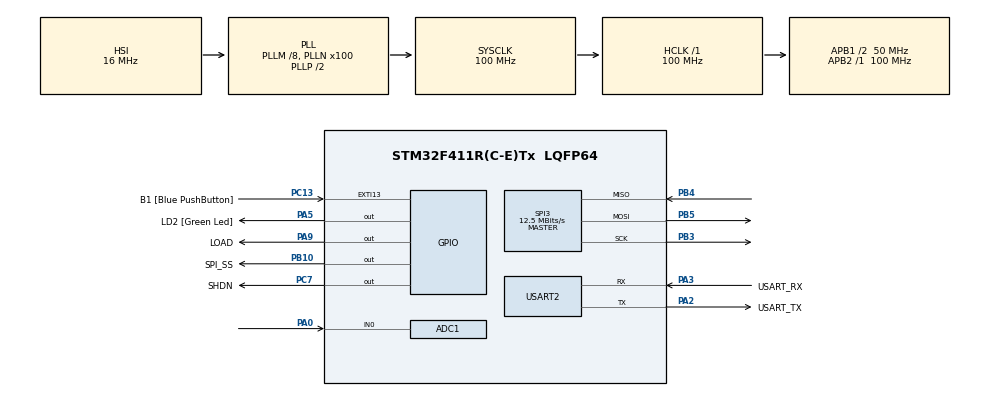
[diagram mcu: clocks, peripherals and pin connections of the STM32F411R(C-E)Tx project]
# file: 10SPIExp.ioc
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ADC1.Channel-0\#ChannelRegularConversion=ADC_CHANNEL_0
ADC1.ContinuousConvMode=DISABLE
ADC1.DMAContinuousRequests=ENABLE
ADC1.ExternalTrigConv=ADC_EXTERNALTRIGCONV_T3_TRGO
ADC1.NbrOfConversion=1
ADC1.NbrOfConversionFlag=1
ADC1.Rank-0\#ChannelRegularConversion=1
ADC1.SamplingTime-0\#ChannelRegularConversion=ADC_SAMPLETIME_15CYCLES
ADC1.ScanConvMode=ENABLE
ADC1.master=1
Dma.ADC1.0.Direction=DMA_PERIPH_TO_MEMORY
Dma.ADC1.0.FIFOMode=DMA_FIFOMODE_DISABLE
Dma.ADC1.0.Instance=DMA2_Stream4
Dma.ADC1.0.MemDataAlignment=DMA_MDATAALIGN_WORD
Dma.ADC1.0.MemInc=DMA_MINC_ENABLE
Dma.ADC1.0.Mode=DMA_CIRCULAR
Dma.ADC1.0.PeriphDataAlignment=DMA_PDATAALIGN_WORD
Dma.ADC1.0.PeriphInc=DMA_PINC_DISABLE
Dma.ADC1.0.Priority=DMA_PRIORITY_LOW
Dma.Request0=ADC1
Mcu.Family=STM32F4
Mcu.Name=STM32F411R(C-E)Tx
Mcu.Package=LQFP64
NVIC.ADC_IRQn=true\:0\:0\:false\:false\:true\:true\:true\:true
NVIC.DMA2_Stream4_IRQn=true\:0\:0\:false\:false\:true\:false\:true\:true
NVIC.EXTI15_10_IRQn=true\:0\:0\:false\:false\:true\:true\:true\:true
NVIC.PriorityGroup=NVIC_PRIORITYGROUP_0
NVIC.SPI3_IRQn=true\:0\:0\:false\:false\:true\:true\:true\:true
NVIC.TIM1_TRG_COM_TIM11_IRQn=true\:0\:0\:false\:false\:true\:true\:true\:true
NVIC.TIM3_IRQn=true\:0\:0\:false\:false\:true\:true\:true\:true
PA0-WKUP.Signal=ADCx_IN0
PA13.GPIO_Label=TMS
PA13.Mode=Serial_Wire
PA13.Signal=SYS_JTMS-SWDIO
PA14.GPIO_Label=TCK
PA14.Mode=Serial_Wire
PA14.Signal=SYS_JTCK-SWCLK
PA2.GPIO_Label=USART_TX
PA2.Mode=Asynchronous
PA2.Signal=USART2_TX
PA3.GPIO_Label=USART_RX
PA3.Mode=Asynchronous
PA3.Signal=USART2_RX
PA5.GPIO_Label=LD2 [Green Led]
PA5.Signal=GPIO_Output
PA9.GPIO_Label=LOAD
PA9.PinState=GPIO_PIN_SET
PA9.Signal=GPIO_Output
PB10.GPIO_Label=SPI_SS
PB10.PinState=GPIO_PIN_SET
PB10.Signal=GPIO_Output
PB3.Mode=Full_Duplex_Master
PB3.Signal=SPI3_SCK
PB4.Mode=Full_Duplex_Master
PB4.Signal=SPI3_MISO
PB5.Mode=Full_Duplex_Master
PB5.Signal=SPI3_MOSI
PC13-ANTI_TAMP.GPIO_Label=B1 [Blue PushButton]
PC13-ANTI_TAMP.GPIO_ModeDefaultEXTI=GPIO_MODE_IT_FALLING
PC13-ANTI_TAMP.Signal=GPXTI13
PC14-OSC32_IN.Mode=LSE-External-Oscillator
PC14-OSC32_IN.Signal=RCC_OSC32_IN
PC15-OSC32_OUT.Mode=LSE-External-Oscillator
PC15-OSC32_OUT.Signal=RCC_OSC32_OUT
PC7.GPIO_Label=SHDN
PC7.PinState=GPIO_PIN_SET
PC7.Signal=GPIO_Output
PH0\ -\ OSC_IN.Mode=HSE-External-Clock-Source
PH0\ -\ OSC_IN.Signal=RCC_OSC_IN
PH1\ -\ OSC_OUT.Mode=HSE-External-Clock-Source
PH1\ -\ OSC_OUT.Signal=RCC_OSC_OUT
ProjectManager.HeapSize=0x200
ProjectManager.StackSize=0x400
ProjectManager.TargetToolchain=STM32CubeIDE
RCC.48MHZClocksFreq_Value=50000000
RCC.AHBFreq_Value=100000000
RCC.APB1CLKDivider=RCC_HCLK_DIV2
RCC.APB1Freq_Value=50000000
RCC.APB1TimFreq_Value=100000000
RCC.APB2Freq_Value=100000000
RCC.APB2TimFreq_Value=100000000
RCC.CortexFreq_Value=100000000
RCC.FLatency-AdvancedSettings=FLASH_LATENCY_3
RCC.HCLKFreq_Value=100000000
RCC.HSE_VALUE=8000000
RCC.HSI_VALUE=16000000
RCC.PLLM=8
RCC.PLLN=100
RCC.SYSCLKFreq_VALUE=100000000
RCC.SYSCLKSource=RCC_SYSCLKSOURCE_PLLCLK
RCC.VCOOutputFreq_Value=200000000
SH.ADCx_IN0.0=ADC1_IN0,IN0
SPI3.BaudRatePrescaler=SPI_BAUDRATEPRESCALER_4
SPI3.CalculateBaudRate=12.5 MBits/s
SPI3.DataSize=SPI_DATASIZE_16BIT
SPI3.Direction=SPI_DIRECTION_2LINES
SPI3.Mode=SPI_MODE_MASTER
SPI3.VirtualType=VM_MASTER
TIM11.Prescaler=99
TIM2.Prescaler=99
TIM3.Period=100
TIM3.Prescaler=100
TIM3.TIM_MasterOutputTrigger=TIM_TRGO_UPDATE
USART2.VirtualMode=VM_ASYNC
VP_TIM11_VS_ClockSourceINT.Mode=Enable_Timer
VP_TIM2_VS_ClockSourceINT.Mode=Internal
VP_TIM3_VS_ClockSourceINT.Mode=Internal
board=NUCLEO-F411RE

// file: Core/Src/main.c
/* USER CODE BEGIN Header */
/**
 ******************************************************************************
 * @file           : main.c
 * @brief          : Main program body
 ******************************************************************************
 * @attention
 *
 * Copyright (c) 2022 STMicroelectronics.
 * All rights reserved.
 *
 * This software is licensed under terms that can be found in the LICENSE file
 * in the root directory of this software component.
 * If no LICENSE file comes with this software, it is provided AS-IS.
 *
 ******************************************************************************
 */
/* USER CODE END Header */
#include "main.h"

ADC_HandleTypeDef hadc1;
DMA_HandleTypeDef hdma_adc1;

SPI_HandleTypeDef hspi3;

TIM_HandleTypeDef htim2;
TIM_HandleTypeDef htim3;
TIM_HandleTypeDef htim11;

UART_HandleTypeDef huart2;

/* USER CODE BEGIN PV */
uint16_t ADCin = 0;
uint64_t _micro = 0;
uint16_t dataOut = 0;
uint8_t DACConfig = 0b0011;

uint64_t time = 0;
uint16_t mode = 1;
uint64_t test = 0;

int16_t Hz = 1;
/* USER CODE END PV */

void SystemClock_Config(void);
static void MX_DMA_Init(void);
static void MX_GPIO_Init(void);
static void MX_USART2_UART_Init(void);
static void MX_ADC1_Init(void);
static void MX_SPI3_Init(void);
static void MX_TIM3_Init(void);
static void MX_TIM11_Init(void);
static void MX_TIM2_Init(void);
/* USER CODE BEGIN PFP */
void MCP4922SetOutput(uint8_t Config, uint16_t DACOutput);
uint64_t micros();
uint16_t pwm(int16_t Hz);
uint16_t sawthooth(int16_t Hz);
uint16_t sinwave(int16_t Hz);
uint16_t V_wave(int16_t Hz);
/* USER CODE END PFP */

int main(void) {

	/* MCU Configuration--------------------------------------------------------*/

	/* Reset of all peripherals, Initializes the Flash interface and the Systick. */
	HAL_Init();

	/* Configure the system clock */
	SystemClock_Config();

	/* Initialize all configured peripherals */
	MX_DMA_Init();
	MX_GPIO_Init();
	MX_USART2_UART_Init();
	MX_ADC1_Init();
	MX_SPI3_Init();
	MX_TIM3_Init();
	MX_TIM11_Init();
	MX_TIM2_Init();
	/* USER CODE BEGIN 2 */
	HAL_TIM_Base_Start(&htim3);
	HAL_TIM_Base_Start_IT(&htim2);
	HAL_ADC_Start_DMA(&hadc1, (uint32_t*) &ADCin, 1);

	HAL_GPIO_WritePin(LOAD_GPIO_Port, LOAD_Pin, GPIO_PIN_RESET);
	/* USER CODE END 2 */

	/* Infinite loop */
	/* USER CODE BEGIN WHILE */
	while (1) {
		static uint64_t timestamp = 0;
		if (mode == 0) {
			dataOut = sawthooth(Hz);
		} else if (mode == 1) {
			dataOut = pwm(Hz);
		}
//		else if (mode == 2) {
//					dataOut = pwm();
//				} else if (mode == 3) {
//					dataOut == V_wave();
//				}

		if (micros() - timestamp > 100) {
			timestamp = micros();
			dataOut++;
			dataOut %= 4096;
			if (hspi3.State == HAL_SPI_STATE_READY
					&& HAL_GPIO_ReadPin(SPI_SS_GPIO_Port, SPI_SS_Pin)
							== GPIO_PIN_SET) {
				MCP4922SetOutput(DACConfig, dataOut);
			}
		}
		/* USER CODE END WHILE */

	}
}

void SystemClock_Config(void) {
	RCC_OscInitTypeDef RCC_OscInitStruct = { 0 };
	RCC_ClkInitTypeDef RCC_ClkInitStruct = { 0 };

	/** Configure the main internal regulator output voltage
	 */
	__HAL_RCC_PWR_CLK_ENABLE();
	__HAL_PWR_VOLTAGESCALING_CONFIG(PWR_REGULATOR_VOLTAGE_SCALE1);

	/** Initializes the RCC Oscillators according to the specified parameters
	 * in the RCC_OscInitTypeDef structure.
	 */
	RCC_OscInitStruct.OscillatorType = RCC_OSCILLATORTYPE_HSI;
	RCC_OscInitStruct.HSIState = RCC_HSI_ON;
	RCC_OscInitStruct.HSICalibrationValue = RCC_HSICALIBRATION_DEFAULT;
	RCC_OscInitStruct.PLL.PLLState = RCC_PLL_ON;
	RCC_OscInitStruct.PLL.PLLSource = RCC_PLLSOURCE_HSI;
	RCC_OscInitStruct.PLL.PLLM = 8;
	RCC_OscInitStruct.PLL.PLLN = 100;
	RCC_OscInitStruct.PLL.PLLP = RCC_PLLP_DIV2;
	RCC_OscInitStruct.PLL.PLLQ = 4;
	if (HAL_RCC_OscConfig(&RCC_OscInitStruct) != HAL_OK) {
		Error_Handler();
	}

	/** Initializes the CPU, AHB and APB buses clocks
	 */
	RCC_ClkInitStruct.ClockType = RCC_CLOCKTYPE_HCLK | RCC_CLOCKTYPE_SYSCLK
			| RCC_CLOCKTYPE_PCLK1 | RCC_CLOCKTYPE_PCLK2;
	RCC_ClkInitStruct.SYSCLKSource = RCC_SYSCLKSOURCE_PLLCLK;
	RCC_ClkInitStruct.AHBCLKDivider = RCC_SYSCLK_DIV1;
	RCC_ClkInitStruct.APB1CLKDivider = RCC_HCLK_DIV2;
	RCC_ClkInitStruct.APB2CLKDivider = RCC_HCLK_DIV1;

	if (HAL_RCC_ClockConfig(&RCC_ClkInitStruct, FLASH_LATENCY_3) != HAL_OK) {
		Error_Handler();
	}
}

static void MX_ADC1_Init(void) {

	ADC_ChannelConfTypeDef sConfig = { 0 };

	/** Configure the global features of the ADC (Clock, Resolution, Data Alignment and number of conversion)
	 */
	hadc1.Instance = ADC1;
	hadc1.Init.ClockPrescaler = ADC_CLOCK_SYNC_PCLK_DIV4;
	hadc1.Init.Resolution = ADC_RESOLUTION_12B;
	hadc1.Init.ScanConvMode = ENABLE;
	hadc1.Init.ContinuousConvMode = DISABLE;
	hadc1.Init.DiscontinuousConvMode = DISABLE;
	hadc1.Init.ExternalTrigConvEdge = ADC_EXTERNALTRIGCONVEDGE_RISING;
	hadc1.Init.ExternalTrigConv = ADC_EXTERNALTRIGCONV_T3_TRGO;
	hadc1.Init.DataAlign = ADC_DATAALIGN_RIGHT;
	hadc1.Init.NbrOfConversion = 1;
	hadc1.Init.DMAContinuousRequests = ENABLE;
	hadc1.Init.EOCSelection = ADC_EOC_SINGLE_CONV;
	if (HAL_ADC_Init(&hadc1) != HAL_OK) {
		Error_Handler();
	}

	/** Configure for the selected ADC regular channel its corresponding rank in the sequencer and its sample time.
	 */
	sConfig.Channel = ADC_CHANNEL_0;
	sConfig.Rank = 1;
	sConfig.SamplingTime = ADC_SAMPLETIME_15CYCLES;
	if (HAL_ADC_ConfigChannel(&hadc1, &sConfig) != HAL_OK) {
		Error_Handler();
	}

}

static void MX_SPI3_Init(void) {

	/* SPI3 parameter configuration*/
	hspi3.Instance = SPI3;
	hspi3.Init.Mode = SPI_MODE_MASTER;
	hspi3.Init.Direction = SPI_DIRECTION_2LINES;
	hspi3.Init.DataSize = SPI_DATASIZE_16BIT;
	hspi3.Init.CLKPolarity = SPI_POLARITY_LOW;
	hspi3.Init.CLKPhase = SPI_PHASE_1EDGE;
	hspi3.Init.NSS = SPI_NSS_SOFT;
	hspi3.Init.BaudRatePrescaler = SPI_BAUDRATEPRESCALER_4;
	hspi3.Init.FirstBit = SPI_FIRSTBIT_MSB;
	hspi3.Init.TIMode = SPI_TIMODE_DISABLE;
	hspi3.Init.CRCCalculation = SPI_CRCCALCULATION_DISABLE;
	hspi3.Init.CRCPolynomial = 10;
	if (HAL_SPI_Init(&hspi3) != HAL_OK) {
		Error_Handler();
	}

}

static void MX_TIM2_Init(void) {

	TIM_ClockConfigTypeDef sClockSourceConfig = { 0 };
	TIM_MasterConfigTypeDef sMasterConfig = { 0 };

	htim2.Instance = TIM2;
	htim2.Init.Prescaler = 99;
	htim2.Init.CounterMode = TIM_COUNTERMODE_UP;
	htim2.Init.Period = 4294967295;
	htim2.Init.ClockDivision = TIM_CLOCKDIVISION_DIV1;
	htim2.Init.AutoReloadPreload = TIM_AUTORELOAD_PRELOAD_DISABLE;
	if (HAL_TIM_Base_Init(&htim2) != HAL_OK) {
		Error_Handler();
	}
	sClockSourceConfig.ClockSource = TIM_CLOCKSOURCE_INTERNAL;
	if (HAL_TIM_ConfigClockSource(&htim2, &sClockSourceConfig) != HAL_OK) {
		Error_Handler();
	}
	sMasterConfig.MasterOutputTrigger = TIM_TRGO_RESET;
	sMasterConfig.MasterSlaveMode = TIM_MASTERSLAVEMODE_DISABLE;
	if (HAL_TIMEx_MasterConfigSynchronization(&htim2, &sMasterConfig)
			!= HAL_OK) {
		Error_Handler();
	}

}

static void MX_TIM3_Init(void) {

	TIM_ClockConfigTypeDef sClockSourceConfig = { 0 };
	TIM_MasterConfigTypeDef sMasterConfig = { 0 };

	htim3.Instance = TIM3;
	htim3.Init.Prescaler = 100;
	htim3.Init.CounterMode = TIM_COUNTERMODE_UP;
	htim3.Init.Period = 100;
	htim3.Init.ClockDivision = TIM_CLOCKDIVISION_DIV1;
	htim3.Init.AutoReloadPreload = TIM_AUTORELOAD_PRELOAD_DISABLE;
	if (HAL_TIM_Base_Init(&htim3) != HAL_OK) {
		Error_Handler();
	}
	sClockSourceConfig.ClockSource = TIM_CLOCKSOURCE_INTERNAL;
	if (HAL_TIM_ConfigClockSource(&htim3, &sClockSourceConfig) != HAL_OK) {
		Error_Handler();
	}
	sMasterConfig.MasterOutputTrigger = TIM_TRGO_UPDATE;
	sMasterConfig.MasterSlaveMode = TIM_MASTERSLAVEMODE_DISABLE;
	if (HAL_TIMEx_MasterConfigSynchronization(&htim3, &sMasterConfig)
			!= HAL_OK) {
		Error_Handler();
	}

}

static void MX_TIM11_Init(void) {

	htim11.Instance = TIM11;
	htim11.Init.Prescaler = 99;
	htim11.Init.CounterMode = TIM_COUNTERMODE_UP;
	htim11.Init.Period = 65535;
	htim11.Init.ClockDivision = TIM_CLOCKDIVISION_DIV1;
	htim11.Init.AutoReloadPreload = TIM_AUTORELOAD_PRELOAD_DISABLE;
	if (HAL_TIM_Base_Init(&htim11) != HAL_OK) {
		Error_Handler();
	}

}

static void MX_USART2_UART_Init(void) {

	huart2.Instance = USART2;
	huart2.Init.BaudRate = 115200;
	huart2.Init.WordLength = UART_WORDLENGTH_8B;
	huart2.Init.StopBits = UART_STOPBITS_1;
	huart2.Init.Parity = UART_PARITY_NONE;
	huart2.Init.Mode = UART_MODE_TX_RX;
	huart2.Init.HwFlowCtl = UART_HWCONTROL_NONE;
	huart2.Init.OverSampling = UART_OVERSAMPLING_16;
	if (HAL_UART_Init(&huart2) != HAL_OK) {
		Error_Handler();
	}

}

static void MX_DMA_Init(void) {

	/* DMA controller clock enable */
	__HAL_RCC_DMA2_CLK_ENABLE();

	/* DMA interrupt init */
	/* DMA2_Stream4_IRQn interrupt configuration */
	HAL_NVIC_SetPriority(DMA2_Stream4_IRQn, 0, 0);
	HAL_NVIC_EnableIRQ(DMA2_Stream4_IRQn);

}

static void MX_GPIO_Init(void) {
	GPIO_InitTypeDef GPIO_InitStruct = { 0 };

	/* GPIO Ports Clock Enable */
	__HAL_RCC_GPIOC_CLK_ENABLE();
	__HAL_RCC_GPIOH_CLK_ENABLE();
	__HAL_RCC_GPIOA_CLK_ENABLE();
	__HAL_RCC_GPIOB_CLK_ENABLE();

	/*Configure GPIO pin Output Level */
	HAL_GPIO_WritePin(LD2_GPIO_Port, LD2_Pin, GPIO_PIN_RESET);

	/*Configure GPIO pin Output Level */
	HAL_GPIO_WritePin(SPI_SS_GPIO_Port, SPI_SS_Pin, GPIO_PIN_SET);

	/*Configure GPIO pin Output Level */
	HAL_GPIO_WritePin(SHDN_GPIO_Port, SHDN_Pin, GPIO_PIN_SET);

	/*Configure GPIO pin Output Level */
	HAL_GPIO_WritePin(LOAD_GPIO_Port, LOAD_Pin, GPIO_PIN_SET);

	/*Configure GPIO pin : B1_Pin */
	GPIO_InitStruct.Pin = B1_Pin;
	GPIO_InitStruct.Mode = GPIO_MODE_IT_FALLING;
	GPIO_InitStruct.Pull = GPIO_NOPULL;
	HAL_GPIO_Init(B1_GPIO_Port, &GPIO_InitStruct);

	/*Configure GPIO pins : LD2_Pin LOAD_Pin */
	GPIO_InitStruct.Pin = LD2_Pin | LOAD_Pin;
	GPIO_InitStruct.Mode = GPIO_MODE_OUTPUT_PP;
	GPIO_InitStruct.Pull = GPIO_NOPULL;
	GPIO_InitStruct.Speed = GPIO_SPEED_FREQ_LOW;
	HAL_GPIO_Init(GPIOA, &GPIO_InitStruct);

	/*Configure GPIO pin : SPI_SS_Pin */
	GPIO_InitStruct.Pin = SPI_SS_Pin;
	GPIO_InitStruct.Mode = GPIO_MODE_OUTPUT_PP;
	GPIO_InitStruct.Pull = GPIO_NOPULL;
	GPIO_InitStruct.Speed = GPIO_SPEED_FREQ_LOW;
	HAL_GPIO_Init(SPI_SS_GPIO_Port, &GPIO_InitStruct);

	/*Configure GPIO pin : SHDN_Pin */
	GPIO_InitStruct.Pin = SHDN_Pin;
	GPIO_InitStruct.Mode = GPIO_MODE_OUTPUT_PP;
	GPIO_InitStruct.Pull = GPIO_NOPULL;
	GPIO_InitStruct.Speed = GPIO_SPEED_FREQ_LOW;
	HAL_GPIO_Init(SHDN_GPIO_Port, &GPIO_InitStruct);

	/* EXTI interrupt init*/
	HAL_NVIC_SetPriority(EXTI15_10_IRQn, 0, 0);
	HAL_NVIC_EnableIRQ(EXTI15_10_IRQn);

}

/* USER CODE BEGIN 4 */
void MCP4922SetOutput(uint8_t Config, uint16_t DACOutput) {
	uint32_t OutputPacket = (DACOutput & 0x0fff) | ((Config & 0xf) << 12);
	HAL_GPIO_WritePin(SPI_SS_GPIO_Port, SPI_SS_Pin, GPIO_PIN_RESET);
	HAL_SPI_Transmit_IT(&hspi3, &OutputPacket, 1);
}

void HAL_SPI_TxCpltCallback(SPI_HandleTypeDef *hspi) {
	if (hspi == &hspi3) {
		HAL_GPIO_WritePin(SPI_SS_GPIO_Port, SPI_SS_Pin, GPIO_PIN_SET);
	}
}

void HAL_TIM_PeriodElapsedCallback(TIM_HandleTypeDef *htim) {
	if (htim == &htim2) {
		_micro += 65535;
	}
}

uint64_t micros() {
	return htim2.Instance->CNT + _micro;
}

void HAL_GPIO_EXTI_Callback(uint16_t GPIO_Pin) {
	if (GPIO_Pin == GPIO_PIN_13) {
		mode++;
		mode %= 4;
	}
}

uint16_t sawthooth(int16_t Hz) {
	static uint16_t dataOut = 0;
	static uint64_t timestamp = 0;
	float loop_1 = 1.0 / (float) Hz * 1000000.0;

	test = (uint64_t) (loop_1 / 4096.0);

	if (micros() - timestamp > (uint64_t) (loop_1 / 4096.0)) {
		timestamp = micros();
		dataOut++;
		dataOut %= 4096;
	}
	return dataOut;
}

uint16_t pwm(int16_t Hz) {
	static uint16_t dataOut = 0;
	static uint64_t timestamp = 0;
	float loop_1 = 1.0 / (float) Hz * 1000000.0;

	test = (uint64_t) (loop_1 / 2);
	if (micros() - timestamp > test) {
		dataOut = 4096;
	}else 	if (micros() - timestamp > 0) {
		dataOut = 0;
	}
	if (micros() - timestamp > 2 * test) {
		timestamp = micros();
	}

	return dataOut;
}
/* USER CODE END 4 */

void Error_Handler(void) {
	__disable_irq();
	while (1) {
	}
}
